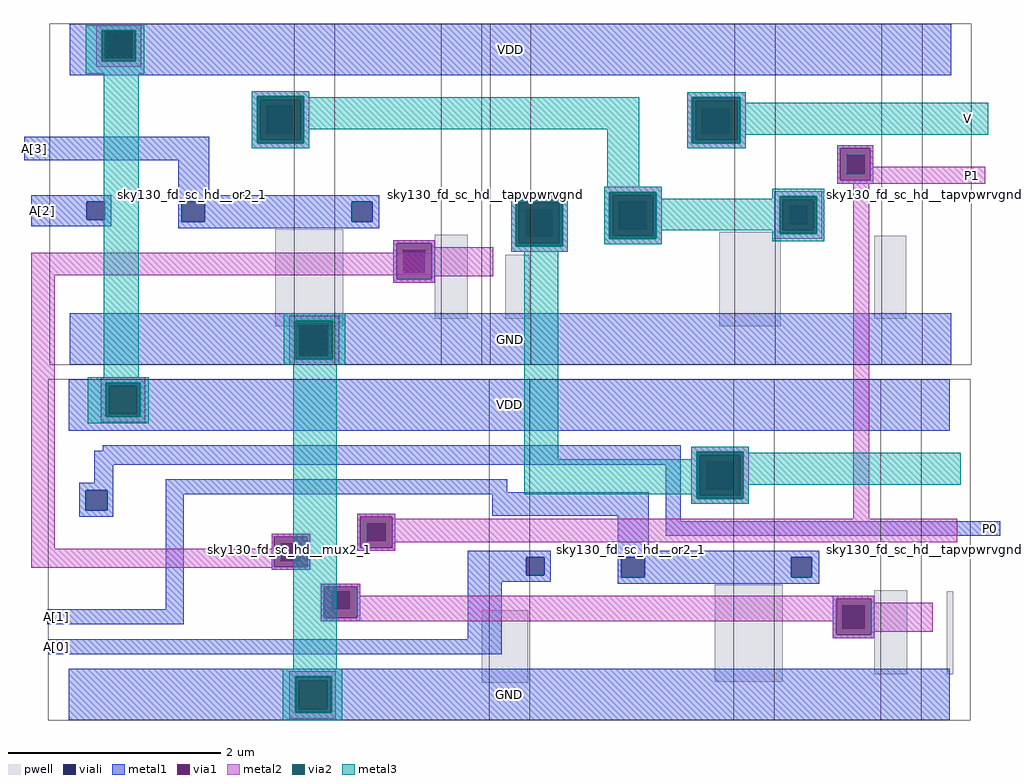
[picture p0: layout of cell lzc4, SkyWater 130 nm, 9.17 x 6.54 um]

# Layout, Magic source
magic
tech sky130A
<< pwell >>
rect 428 -1557 451 -1497
rect 629 -1564 687 -1475
rect 775 -1557 805 -1479
rect 406 -1899 450 -1831
rect 843 -1891 849 -1813
<< viali >>
rect 613 -1383 639 -1359
rect 749 -1421 766 -1403
rect 447 -1480 473 -1454
rect 535 -1473 561 -1447
rect 695 -1468 712 -1451
rect 34 -1737 54 -1718
rect 298 -1766 316 -1749
rect 217 -1785 236 -1768
rect 265 -1830 282 -1813
<< metal1 >>
rect 19 -1286 847 -1280
rect 19 -1312 52 -1286
rect 78 -1312 847 -1286
rect 19 -1328 847 -1312
rect 603 -1352 649 -1349
rect -24 -1408 31 -1386
rect 603 -1389 607 -1352
rect 646 -1389 649 -1352
rect 603 -1392 649 -1389
rect 740 -1397 774 -1394
rect 740 -1427 743 -1397
rect 771 -1427 774 -1397
rect 740 -1430 774 -1427
rect 526 -1441 570 -1438
rect -17 -1470 10 -1441
rect 438 -1448 482 -1445
rect 438 -1486 441 -1448
rect 479 -1486 482 -1448
rect 526 -1479 529 -1441
rect 567 -1479 570 -1441
rect 686 -1445 721 -1442
rect 686 -1474 689 -1445
rect 718 -1474 721 -1445
rect 686 -1477 721 -1474
rect 526 -1482 570 -1479
rect 438 -1489 482 -1486
rect 19 -1563 847 -1552
rect 19 -1592 234 -1563
rect 262 -1592 847 -1563
rect 19 -1600 847 -1592
rect 18 -1620 846 -1614
rect 18 -1646 56 -1620
rect 82 -1646 846 -1620
rect 18 -1662 846 -1646
rect 50 -1681 593 -1676
rect 42 -1694 593 -1681
rect 42 -1711 60 -1694
rect 28 -1718 60 -1711
rect 28 -1737 34 -1718
rect 54 -1737 60 -1718
rect 28 -1743 60 -1737
rect 109 -1722 430 -1708
rect 109 -1830 126 -1722
rect 289 -1743 325 -1740
rect 209 -1762 245 -1759
rect 209 -1790 211 -1762
rect 242 -1790 245 -1762
rect 289 -1772 292 -1743
rect 322 -1772 325 -1743
rect 579 -1747 593 -1694
rect 579 -1761 893 -1747
rect 289 -1775 325 -1772
rect 209 -1793 245 -1790
rect -2 -1844 126 -1830
rect 255 -1809 292 -1806
rect 255 -1838 258 -1809
rect 289 -1838 292 -1809
rect 255 -1841 292 -1838
rect 393 -1858 425 -1775
rect -1 -1872 425 -1858
rect 18 -1897 846 -1886
rect 18 -1924 234 -1897
rect 261 -1924 846 -1897
rect 18 -1934 846 -1924
<< via1 >>
rect 52 -1312 78 -1286
rect 607 -1359 646 -1352
rect 607 -1383 613 -1359
rect 613 -1383 639 -1359
rect 639 -1383 646 -1359
rect 607 -1389 646 -1383
rect 743 -1403 771 -1397
rect 743 -1421 749 -1403
rect 749 -1421 766 -1403
rect 766 -1421 771 -1403
rect 743 -1427 771 -1421
rect 441 -1454 479 -1448
rect 441 -1480 447 -1454
rect 447 -1480 473 -1454
rect 473 -1480 479 -1454
rect 441 -1486 479 -1480
rect 529 -1447 567 -1441
rect 529 -1473 535 -1447
rect 535 -1473 561 -1447
rect 561 -1473 567 -1447
rect 529 -1479 567 -1473
rect 689 -1451 718 -1445
rect 689 -1468 695 -1451
rect 695 -1468 712 -1451
rect 712 -1468 718 -1451
rect 689 -1474 718 -1468
rect 234 -1592 262 -1563
rect 56 -1646 82 -1620
rect 211 -1768 242 -1762
rect 211 -1785 217 -1768
rect 217 -1785 236 -1768
rect 236 -1785 242 -1768
rect 211 -1790 242 -1785
rect 292 -1749 322 -1743
rect 292 -1766 298 -1749
rect 298 -1766 316 -1749
rect 316 -1766 322 -1749
rect 292 -1772 322 -1766
rect 258 -1813 289 -1809
rect 258 -1830 265 -1813
rect 265 -1830 282 -1813
rect 282 -1830 289 -1813
rect 258 -1838 289 -1830
rect 234 -1924 261 -1897
<< metal2 >>
rect 44 -1286 86 -1281
rect 44 -1315 49 -1286
rect 81 -1315 86 -1286
rect 44 -1320 86 -1315
rect 599 -1349 654 -1344
rect 599 -1392 604 -1349
rect 649 -1392 654 -1349
rect 599 -1397 654 -1392
rect 740 -1397 774 -1394
rect 740 -1427 743 -1397
rect 771 -1414 774 -1397
rect 771 -1427 879 -1414
rect 740 -1430 879 -1427
rect 521 -1438 575 -1433
rect 434 -1445 487 -1440
rect 434 -1489 438 -1445
rect 482 -1489 487 -1445
rect 521 -1482 526 -1438
rect 570 -1482 575 -1438
rect 681 -1442 726 -1437
rect 681 -1477 686 -1442
rect 721 -1477 726 -1442
rect 681 -1482 726 -1477
rect 521 -1487 575 -1482
rect 434 -1494 487 -1489
rect -17 -1516 397 -1495
rect -17 -1773 5 -1516
rect 225 -1559 272 -1554
rect 225 -1595 231 -1559
rect 266 -1595 272 -1559
rect 225 -1600 272 -1595
rect 48 -1617 90 -1612
rect 48 -1649 53 -1617
rect 85 -1649 90 -1617
rect 48 -1654 90 -1649
rect 289 -1743 325 -1740
rect 209 -1762 245 -1759
rect 209 -1773 211 -1762
rect -17 -1790 211 -1773
rect 242 -1790 245 -1762
rect 289 -1772 292 -1743
rect 322 -1745 325 -1743
rect 755 -1745 770 -1430
rect 322 -1767 853 -1745
rect 322 -1772 325 -1767
rect 289 -1775 325 -1772
rect -17 -1791 245 -1790
rect 209 -1793 245 -1791
rect 255 -1809 292 -1806
rect 255 -1838 258 -1809
rect 289 -1817 292 -1809
rect 289 -1838 741 -1817
rect 255 -1841 741 -1838
rect 225 -1893 269 -1888
rect 225 -1927 231 -1893
rect 265 -1927 269 -1893
rect 225 -1933 269 -1927
<< via2 >>
rect 49 -1312 52 -1286
rect 52 -1312 78 -1286
rect 78 -1312 81 -1286
rect 49 -1315 81 -1312
rect 604 -1352 649 -1349
rect 604 -1389 607 -1352
rect 607 -1389 646 -1352
rect 646 -1389 649 -1352
rect 604 -1392 649 -1389
rect 438 -1448 482 -1445
rect 438 -1486 441 -1448
rect 441 -1486 479 -1448
rect 479 -1486 482 -1448
rect 438 -1489 482 -1486
rect 526 -1441 570 -1438
rect 526 -1479 529 -1441
rect 529 -1479 567 -1441
rect 567 -1479 570 -1441
rect 526 -1482 570 -1479
rect 686 -1445 721 -1442
rect 686 -1474 689 -1445
rect 689 -1474 718 -1445
rect 718 -1474 721 -1445
rect 686 -1477 721 -1474
rect 231 -1563 266 -1559
rect 231 -1592 234 -1563
rect 234 -1592 262 -1563
rect 262 -1592 266 -1563
rect 231 -1595 266 -1592
rect 53 -1620 85 -1617
rect 53 -1646 56 -1620
rect 56 -1646 82 -1620
rect 82 -1646 85 -1620
rect 53 -1649 85 -1646
rect 231 -1897 265 -1893
rect 231 -1924 234 -1897
rect 234 -1924 261 -1897
rect 261 -1924 265 -1897
rect 231 -1927 265 -1924
<< metal3 >>
rect 34 -1286 89 -1281
rect 34 -1315 49 -1286
rect 81 -1315 89 -1286
rect 34 -1327 89 -1315
rect 51 -1612 84 -1327
rect 599 -1349 654 -1344
rect 239 -1379 554 -1349
rect 524 -1433 554 -1379
rect 599 -1392 604 -1349
rect 649 -1354 654 -1349
rect 649 -1384 882 -1354
rect 649 -1392 654 -1384
rect 599 -1397 654 -1392
rect 521 -1438 575 -1433
rect 434 -1445 487 -1440
rect 434 -1489 438 -1445
rect 482 -1489 487 -1445
rect 521 -1482 526 -1438
rect 570 -1444 575 -1438
rect 679 -1442 728 -1435
rect 679 -1444 686 -1442
rect 570 -1474 686 -1444
rect 570 -1482 575 -1474
rect 521 -1487 575 -1482
rect 679 -1477 686 -1474
rect 721 -1477 728 -1442
rect 679 -1484 728 -1477
rect 434 -1494 487 -1489
rect 220 -1559 278 -1552
rect 220 -1595 231 -1559
rect 266 -1595 278 -1559
rect 220 -1600 278 -1595
rect 36 -1617 93 -1612
rect 36 -1649 53 -1617
rect 85 -1649 93 -1617
rect 36 -1655 93 -1649
rect 229 -1886 270 -1600
rect 446 -1689 478 -1494
rect 446 -1722 607 -1689
rect 219 -1893 275 -1886
rect 219 -1927 231 -1893
rect 265 -1927 275 -1893
rect 219 -1934 275 -1927
use sky130_fd_sc_hd__tapvpwrvgnd_1  sky130_fd_sc_hd__tapvpwrvgnd_1_0 $PDKPATH/libs.ref/sky130_fd_sc_hd/mag
transform 1 0 801 0 1 -1576
box -19 -24 65 296
use lzc2  x1
transform 1 0 19 0 1 -976
box -19 -624 433 -304
use lzc2  x2
transform 1 0 432 0 1 -1310
box -19 -624 433 -304
use sky130_fd_sc_hd__or2_1  x3 $PDKPATH/libs.ref/sky130_fd_sc_hd/mag
transform 1 0 433 0 1 -1576
box -19 -24 249 296
use sky130_fd_sc_hd__inv_1  x4 $PDKPATH/libs.ref/sky130_fd_sc_hd/mag
transform 1 0 663 0 1 -1576
box -19 -24 157 296
use sky130_fd_sc_hd__mux2_1  x5 $PDKPATH/libs.ref/sky130_fd_sc_hd/mag
transform 1 0 18 0 1 -1910
box -19 -24 433 296
<< labels >>
rlabel metal2 859 -1430 876 -1414 1 P1
port 6 n signal output
rlabel metal1 878 -1761 891 -1747 1 P0
port 7 n signal output
rlabel metal1 19 -1328 847 -1280 1 VDD
port 8 n power input
rlabel metal1 19 -1600 847 -1552 1 GND
port 9 n ground output
rlabel metal1 18 -1662 846 -1614 1 VDD
port 8 n power input
rlabel metal1 18 -1934 846 -1886 1 GND
port 9 n ground output
rlabel metal3 847 -1384 878 -1354 1 V
port 10 n signal output
rlabel metal1 0 -1872 14 -1858 1 A[0]
port 11 n signal input
rlabel metal1 -1 -1844 14 -1830 1 A[1]
port 12 n signal input
rlabel metal1 -15 -1470 1 -1441 1 A[2]
port 13 n signal input
rlabel metal1 -23 -1408 -5 -1386 1 A[3]
port 14 n signal input
<< end >>

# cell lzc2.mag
magic
tech sky130A
<< pwell >>
rect 193 -588 257 -497
rect 343 -581 374 -502
<< viali >>
rect 185 -407 211 -381
rect 16 -488 33 -471
rect 105 -490 127 -471
rect 265 -490 284 -471
rect 313 -538 334 -516
<< metal1 >>
rect 0 -352 414 -304
rect 176 -375 220 -372
rect -16 -432 131 -410
rect 176 -413 179 -375
rect 217 -413 220 -375
rect 176 -416 220 -413
rect 102 -465 131 -432
rect -16 -471 39 -465
rect -16 -488 16 -471
rect 33 -488 39 -471
rect -16 -494 39 -488
rect 102 -471 291 -465
rect 102 -490 105 -471
rect 127 -490 265 -471
rect 284 -490 291 -471
rect 102 -496 291 -490
rect 304 -510 343 -507
rect 304 -544 307 -510
rect 340 -544 343 -510
rect 304 -547 343 -544
rect 0 -624 414 -576
<< via1 >>
rect 179 -381 217 -375
rect 179 -407 185 -381
rect 185 -407 211 -381
rect 211 -407 217 -381
rect 179 -413 217 -407
rect 307 -516 340 -510
rect 307 -538 313 -516
rect 313 -538 334 -516
rect 334 -538 340 -516
rect 307 -544 340 -538
<< metal2 >>
rect 171 -372 225 -367
rect 171 -416 176 -372
rect 220 -416 225 -372
rect 171 -421 225 -416
rect 304 -510 343 -507
rect 304 -544 307 -510
rect 340 -514 343 -510
rect 340 -541 398 -514
rect 340 -544 343 -541
rect 304 -547 343 -544
<< via2 >>
rect 176 -375 220 -372
rect 176 -413 179 -375
rect 179 -413 217 -375
rect 217 -413 220 -375
rect 176 -416 220 -413
<< metal3 >>
rect 171 -372 225 -367
rect 171 -416 176 -372
rect 220 -373 225 -372
rect 220 -403 424 -373
rect 220 -416 225 -403
rect 171 -421 225 -416
use sky130_fd_sc_hd__tapvpwrvgnd_1  sky130_fd_sc_hd__tapvpwrvgnd_1_0 $PDKPATH/libs.ref/sky130_fd_sc_hd/mag
transform 1 0 368 0 1 -600
box -19 -24 65 296
use sky130_fd_sc_hd__or2_1  x1 $PDKPATH/libs.ref/sky130_fd_sc_hd/mag
transform 1 0 0 0 1 -600
box -19 -24 249 296
use sky130_fd_sc_hd__inv_1  x2 $PDKPATH/libs.ref/sky130_fd_sc_hd/mag
transform 1 0 230 0 1 -600
box -19 -24 157 296
<< labels >>
rlabel metal1 0 -624 414 -576 1 GND
port 6 n ground output
rlabel metal1 0 -352 414 -304 1 VDD
port 7 n power input
rlabel metal1 -14 -494 5 -465 1 LO
port 10 n signal input
rlabel metal1 -14 -432 10 -410 1 HI
port 11 n signal input
rlabel metal2 367 -541 394 -514 1 P
port 12 n signal output
rlabel metal3 391 -403 421 -373 1 V
port 13 n signal output
<< end >>
